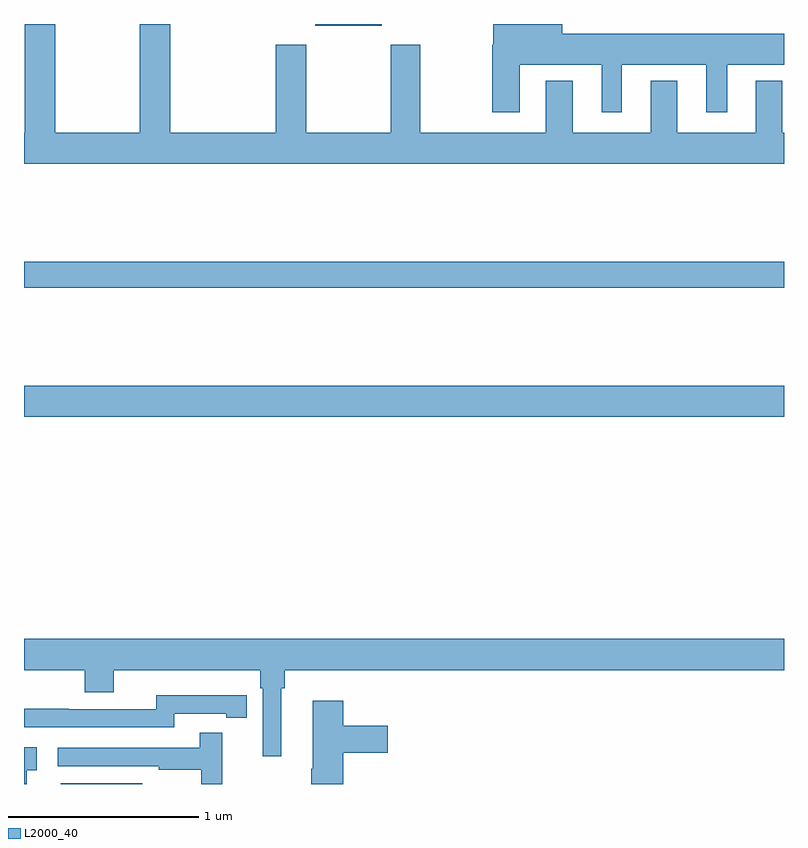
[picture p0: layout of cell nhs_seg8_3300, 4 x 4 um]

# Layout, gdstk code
import gdstk
lib = gdstk.Library(unit=1e-6, precision=1e-09)
def R(c, l, rs):  # rectangles x0, y0, x1, y1
    for r in rs: c.add(gdstk.rectangle(r[:2], r[2:], *l))
def P(c, l, *ps):  # polygons
    for p in ps: c.add(gdstk.Polygon(p, *l))
L2000_40 = (2000, 40)

nhs_seg8_3300 = lib.new_cell('nhs_seg8_3300')
R(nhs_seg8_3300, L2000_40, [(315.194,1115.9,315.622,1115.905), (315,1117.832,319,1117.996), (315,1118.512,319,1118.648), (316.532,1119.89,316.882,1119.9)])
P(nhs_seg8_3300, L2000_40, [(319,1119.328),(318.991,1119.328),(318.991,1119.601),(318.851,1119.601),(318.851,1119.328),(318.439,1119.328),(318.439,1119.601),(318.299,1119.601),(318.299,1119.328),(317.887,1119.328),(317.887,1119.601),(317.747,1119.601),(317.747,1119.328),(317.085,1119.328),(317.085,1119.79),(316.93,1119.79),(316.93,1119.328),(316.485,1119.328),(316.485,1119.79),(316.325,1119.79),(316.325,1119.328),(315.77,1119.328),(315.77,1119.9),(315.61,1119.9),(315.61,1119.328),(315.165,1119.328),(315.165,1119.9),(315.005,1119.9),(315.005,1119.328),(315,1119.328),(315,1119.164),(319,1119.164)],
  [(317.608,1119.686),(318.041,1119.686),(318.041,1119.435),(318.145,1119.435),(318.145,1119.686),(318.59,1119.686),(318.59,1119.435),(318.7,1119.435),(318.7,1119.686),(319,1119.686),(319,1119.85),(317.833,1119.85),(317.833,1119.9),(317.471,1119.9),(317.471,1119.79),(317.464,1119.79),(317.464,1119.435),(317.608,1119.435)],
  [(316.354,1116.404),(316.373,1116.404),(316.373,1116.5),(319,1116.5),(319,1116.664),(315,1116.664),(315,1116.5),(315.32,1116.5),(315.32,1116.383),(315.472,1116.383),(315.472,1116.5),(316.244,1116.5),(316.244,1116.404),(316.257,1116.404),(316.257,1116.045),(316.354,1116.045)],
  [(315.792,1116.27),(316.064,1116.27),(316.064,1116.25),(316.172,1116.25),(316.172,1116.366),(316.064,1116.366),(316.064,1116.367),(315.696,1116.367),(315.696,1116.294),(315.236,1116.294),(315.236,1116.296),(315,1116.296),(315,1116.198),(315.792,1116.198)],
  [(316.679,1116.065),(316.915,1116.065),(316.915,1116.207),(316.679,1116.207),(316.679,1116.337),(316.52,1116.337),(316.52,1115.981),(316.513,1115.981),(316.513,1115.9),(316.679,1115.9)],
  [(316.043,1116.169),(315.925,1116.169),(315.925,1116.09),(315.177,1116.09),(315.177,1115.994),(315.709,1115.994),(315.709,1115.974),(315.933,1115.974),(315.933,1115.9),(316.043,1115.9)],
  [(315.014,1115.973),(315.067,1115.973),(315.067,1116.094),(315,1116.094),(315,1115.9),(315.014,1115.9)])

lib.write_gds('nhs_seg8_3300.gds')
